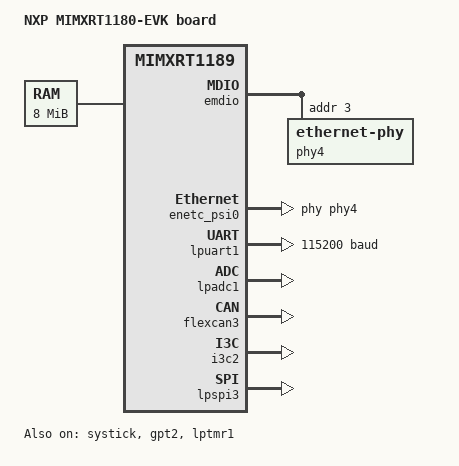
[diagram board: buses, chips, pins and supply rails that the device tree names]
/*
 * Copyright 2024 NXP
 *
 * SPDX-License-Identifier: Apache-2.0
 */

/dts-v1/;

#include <nxp/nxp_rt118x_cm33.dtsi>
#include "mimxrt1180_evk.dtsi"

/ {
	model = "NXP MIMXRT1180-EVK board";
	compatible = "nxp,mimxrt1189";

	chosen {
		zephyr,sram = &hyperram0;
		zephyr,dtcm = &dtcm;
		zephyr,itcm = &itcm;
		zephyr,flash-controller = &w25q128jw;
		zephyr,flash = &w25q128jw;
		zephyr,code-partition = &slot0_partition;
		zephyr,console = &lpuart1;
		zephyr,shell-uart = &lpuart1;
		zephyr,uart-mcumgr = &lpuart1;
		zephyr,canbus = &flexcan3;
	};

	hyperram0: memory@14000000 {
		/* Winbond W957A8MFYA5K */
		device_type = "memory";
		reg = <0x14000000 DT_SIZE_M(8)>;
	};
};

&emdio {
	pinctrl-0 = <&emdio_default>;
	pinctrl-names = "default";
	status = "okay";

	phy4: phy@3 {
		compatible = "ethernet-phy";
		reg = <0x3>;
		status = "okay";
	};
};

&enetc_psi0 {
	local-mac-address = [00 00 00 01 02 00];
	pinctrl-0 = <&eth4_default>;
	pinctrl-names = "default";
	phy-handle = <&phy4>;
	status = "okay";
};

&lpuart1 {
	status = "okay";
	current-speed = <115200>;
};

&lpadc1 {
	status = "okay";
};

&systick {
	status = "okay";
};

&gpt2 {
	status = "okay";
};

&flexcan3 {
	status = "okay";
};

&lptmr1 {
	status = "okay";
};

&i3c2 {
	status = "okay";
};

&lpspi3 {
	status = "okay";
};

&edma3 {
	status = "okay";
};

&edma4 {
	status = "okay";
};
